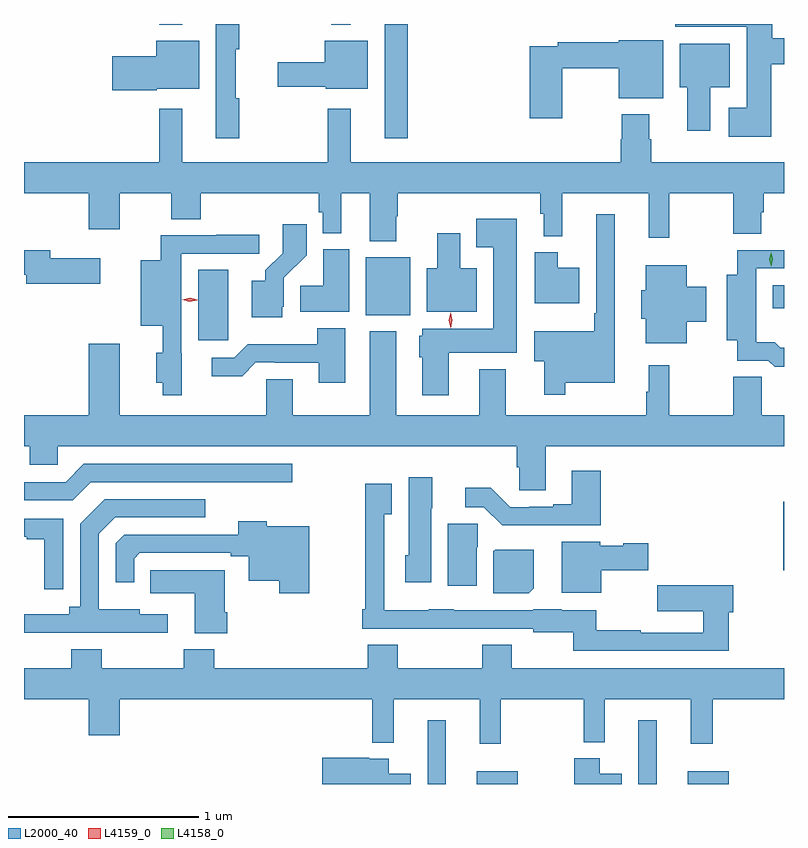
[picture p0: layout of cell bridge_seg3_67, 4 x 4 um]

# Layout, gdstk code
import gdstk
lib = gdstk.Library(unit=1e-6, precision=1e-09)
def R(c, l, rs):  # rectangles x0, y0, x1, y1
    for r in rs: c.add(gdstk.rectangle(r[:2], r[2:], *l))
def P(c, l, *ps):  # polygons
    for p in ps: c.add(gdstk.Polygon(p, *l))
L2000_40 = (2000, 40)
L4158_0 = (4158, 0)
L4159_0 = (4159, 0)

bridge_seg3_67 = lib.new_cell('bridge_seg3_67')
R(bridge_seg3_67, L2000_40, [(574.383,691.147,574.48,691.483), (574.643,691.147,574.858,691.213), (575.493,691.147,575.59,691.483), (575.753,691.147,575.968,691.213), (576.254,692.271,576.259,692.632), (573.176,693.483,573.334,693.854), (574.058,693.614,574.291,693.919), (576.199,693.65,576.259,693.772), (574.157,694.545,574.279,695.147), (572.97,695.144,573.091,695.147), (573.875,695.144,573.979,695.147)])
P(bridge_seg3_67, L2000_40, [(573.391,694.757),(573.373,694.757),(573.373,695.014),(573.391,695.014),(573.391,695.147),(573.269,695.147),(573.269,694.545),(573.391,694.545)],
  [(576.192,694.936),(576.259,694.936),(576.259,695.072),(576.197,695.072),(576.197,695.147),(575.687,695.147),(575.687,695.132),(576.062,695.132),(576.062,694.705),(575.967,694.705),(575.967,694.553),(576.192,694.553)],
  [(575.092,694.915),(575.39,694.915),(575.39,694.757),(575.623,694.757),(575.623,695.062),(575.39,695.062),(575.39,695.051),(575.068,695.051),(575.068,695.031),(574.922,695.031),(574.922,694.65),(575.092,694.65)],
  [(572.958,694.805),(573.181,694.805),(573.181,695.059),(572.954,695.059),(572.954,694.976),(572.724,694.976),(572.724,694.798),(572.958,694.798)],
  [(574.069,695.059),(573.842,695.059),(573.842,694.945),(573.594,694.945),(573.594,694.816),(573.846,694.816),(573.846,694.805),(574.069,694.805)],
  [(575.872,694.814),(575.974,694.814),(575.974,695.044),(575.711,695.044),(575.711,694.814),(575.75,694.814),(575.75,694.584),(575.872,694.584)],
  [(574.219,694.136),(574.227,694.136),(574.227,694.256),(574.975,694.256),(574.975,694.149),(574.994,694.149),(574.994,694.031),(575.093,694.031),(575.093,694.256),(575.546,694.256),(575.546,694.023),(575.656,694.023),(575.656,694.256),(575.992,694.256),(575.992,694.042),(576.139,694.042),(576.139,694.155),(576.152,694.155),(576.152,694.256),(576.259,694.256),(576.259,694.42),(575.559,694.42),(575.559,694.541),(575.551,694.541),(575.551,694.672),(575.404,694.672),(575.404,694.541),(575.399,694.541),(575.399,694.42),(573.979,694.42),(573.979,694.702),(573.858,694.702),(573.858,694.42),(573.091,694.42),(573.091,694.702),(572.97,694.702),(572.97,694.42),(572.259,694.42),(572.259,694.256),(572.6,694.256),(572.6,694.068),(572.764,694.068),(572.764,694.256),(573.035,694.256),(573.035,694.12),(573.188,694.12),(573.188,694.256),(573.811,694.256),(573.811,694.155),(573.831,694.155),(573.831,694.046),(573.928,694.046),(573.928,694.256),(574.079,694.256),(574.079,694.004),(574.219,694.004)],
  [(575.107,693.26),(575.368,693.26),(575.368,694.147),(575.271,694.147),(575.271,693.625),(575.259,693.625),(575.259,693.529),(574.944,693.529),(574.944,693.371),(574.997,693.371),(574.997,693.195),(575.107,693.195)],
  [(574.495,693.416),(574.852,693.416),(574.852,694.123),(574.64,694.123),(574.64,693.971),(574.73,693.971),(574.73,693.544),(574.355,693.544),(574.355,693.507),(574.34,693.507),(574.34,693.393),(574.355,693.393),(574.355,693.192),(574.495,693.192)],
  [(573.619,693.66),(573.627,693.66),(573.627,693.811),(573.746,693.93),(573.746,694.093),(573.621,694.093),(573.621,693.941),(573.53,693.851),(573.53,693.796),(573.458,693.796),(573.458,693.603),(573.619,693.603)],
  [(574.642,693.862),(574.555,693.862),(574.555,694.045),(574.433,694.045),(574.433,693.862),(574.379,693.862),(574.379,693.632),(574.642,693.632)],
  [(573.088,693.414),(573.087,693.414),(573.087,693.939),(573.496,693.939),(573.496,694.038),(573.271,694.038),(573.271,694.035),(572.979,694.035),(572.979,693.904),(572.873,693.904),(572.873,693.56),(572.989,693.56),(572.989,693.418),(572.954,693.418),(572.954,693.26),(572.989,693.26),(572.989,693.192),(573.088,693.192)],
  [(573.97,693.961),(573.833,693.961),(573.833,693.77),(573.712,693.77),(573.712,693.632),(573.97,693.632)],
  [(576.259,693.444),(576.238,693.444),(576.21,693.472),(576.114,693.472),(576.114,693.861),(576.259,693.861),(576.259,693.957),(576.013,693.957),(576.013,693.826),(575.957,693.826),(575.957,693.482),(576.013,693.482),(576.013,693.375),(576.177,693.375),(576.209,693.344),(576.259,693.344)],
  [(572.659,693.913),(572.398,693.913),(572.398,693.955),(572.259,693.955),(572.259,693.826),(572.27,693.826),(572.27,693.779),(572.659,693.779)],
  [(575.182,693.865),(575.068,693.865),(575.068,693.946),(574.946,693.946),(574.946,693.677),(575.182,693.677)],
  [(575.746,693.581),(575.851,693.581),(575.851,693.764),(575.746,693.764),(575.746,693.877),(575.531,693.877),(575.531,693.747),(575.507,693.747),(575.507,693.597),(575.531,693.597),(575.531,693.467),(575.746,693.467)],
  [(573.949,693.547),(573.802,693.547),(573.802,693.461),(573.437,693.461),(573.366,693.39),(573.246,693.39),(573.246,693.293),(573.407,693.293),(573.48,693.366),(573.58,693.366),(573.58,693.363),(573.809,693.363),(573.809,693.258),(573.949,693.258)],
  [(575.005,692.924),(576.259,692.924),(576.259,693.088),(576.142,693.088),(576.142,693.29),(575.992,693.29),(575.992,693.088),(575.656,693.088),(575.656,693.352),(575.546,693.352),(575.546,693.212),(575.535,693.212),(575.535,693.088),(574.795,693.088),(574.795,693.331),(574.655,693.331),(574.655,693.088),(574.219,693.088),(574.219,693.529),(574.079,693.529),(574.079,693.088),(573.673,693.088),(573.673,693.278),(573.534,693.278),(573.534,693.088),(572.764,693.088),(572.764,693.463),(572.6,693.463),(572.6,693.088),(572.259,693.088),(572.259,692.924),(572.29,692.924),(572.29,692.826),(572.436,692.826),(572.436,692.924),(574.853,692.924),(574.853,692.814),(574.866,692.814),(574.866,692.692),(575.005,692.692)],
  [(572.611,692.736),(573.301,692.736),(573.301,692.735),(573.67,692.735),(573.67,692.832),(572.574,692.832),(572.478,692.736),(572.259,692.736),(572.259,692.64),(572.515,692.64)],
  [(575.294,692.797),(575.141,692.797),(575.141,692.62),(575.045,692.62),(575.045,692.607),(574.918,692.607),(574.918,692.604),(574.818,692.604),(574.716,692.707),(574.581,692.707),(574.581,692.604),(574.68,692.604),(574.775,692.51),(575.294,692.51)],
  [(574.402,692.598),(574.408,692.598),(574.408,692.761),(574.283,692.761),(574.283,692.352),(574.265,692.352),(574.265,692.208),(574.402,692.208)],
  [(575.969,692.05),(575.993,692.05),(575.993,692.192),(575.592,692.192),(575.592,692.057),(575.833,692.057),(575.833,691.944),(575.504,691.944),(575.504,691.957),(575.272,691.957),(575.272,692.062),(575.088,692.062),(575.088,692.068),(574.938,692.068),(574.938,692.061),(574.521,692.061),(574.521,692.068),(574.389,692.068),(574.389,692.062),(574.155,692.062),(574.155,692.567),(574.195,692.567),(574.195,692.728),(574.054,692.728),(574.054,692.068),(574.039,692.068),(574.039,691.965),(574.289,691.965),(574.289,691.964),(574.521,691.964),(574.521,691.965),(574.938,691.965),(574.938,691.946),(575.151,691.946),(575.151,691.848),(575.969,691.848)],
  [(573.016,692.04),(572.868,692.04),(572.868,692.068),(572.652,692.068),(572.652,692.463),(572.739,692.55),(573.214,692.55),(573.214,692.646),(572.684,692.646),(572.556,692.518),(572.556,692.081),(572.496,692.081),(572.496,692.041),(572.259,692.041),(572.259,691.943),(573.016,691.943)],
  [(572.466,692.544),(572.259,692.544),(572.259,692.448),(572.273,692.448),(572.273,692.436),(572.365,692.436),(572.365,692.172),(572.466,692.172)],
  [(573.76,692.503),(573.537,692.503),(573.537,692.53),(573.386,692.53),(573.386,692.46),(572.787,692.46),(572.742,692.415),(572.742,692.208),(572.838,692.208),(572.838,692.333),(572.869,692.364),(573.347,692.364),(573.347,692.346),(573.443,692.346),(573.443,692.216),(573.602,692.216),(573.602,692.151),(573.76,692.151)],
  [(574.642,692.394),(574.646,692.394),(574.646,692.517),(574.49,692.517),(574.49,692.19),(574.642,692.19)],
  [(575.296,692.272),(575.545,692.272),(575.545,692.414),(575.412,692.414),(575.412,692.401),(575.292,692.401),(575.292,692.422),(575.09,692.422),(575.09,692.153),(575.296,692.153)],
  [(574.942,692.176),(574.942,692.38),(574.738,692.38),(574.73,692.372),(574.73,692.15),(574.916,692.15)],
  [(573.329,692.05),(573.316,692.05),(573.316,692.272),(572.923,692.272),(572.923,692.15),(573.158,692.15),(573.158,691.94),(573.329,691.94)],
  [(574.768,691.592),(575.205,691.592),(575.205,691.367),(575.315,691.367),(575.315,691.592),(575.768,691.592),(575.768,691.359),(575.885,691.359),(575.885,691.592),(576.259,691.592),(576.259,691.756),(574.827,691.756),(574.827,691.88),(574.672,691.88),(574.672,691.756),(574.227,691.756),(574.227,691.88),(574.067,691.88),(574.067,691.756),(573.26,691.756),(573.26,691.855),(573.1,691.855),(573.1,691.756),(572.667,691.756),(572.667,691.855),(572.507,691.855),(572.507,691.756),(572.259,691.756),(572.259,691.592),(572.6,691.592),(572.6,691.404),(572.764,691.404),(572.764,691.592),(574.091,691.592),(574.091,691.364),(574.205,691.364),(574.205,691.592),(574.658,691.592),(574.658,691.359),(574.768,691.359)],
  [(574.294,691.201),(574.18,691.201),(574.18,691.279),(574.076,691.279),(574.076,691.284),(573.828,691.284),(573.828,691.147),(574.294,691.147)],
  [(575.404,691.201),(575.29,691.201),(575.29,691.282),(575.156,691.282),(575.156,691.147),(575.404,691.147)])
P(bridge_seg3_67, L4158_0, [(576.191,693.872),(576.191,693.872),(576.181,693.908),(576.191,693.944),(576.191,693.945),(576.191,693.944),(576.201,693.908),(576.191,693.872)])
P(bridge_seg3_67, L4159_0, [(574.505,693.546),(574.504,693.547),(574.494,693.587),(574.504,693.627),(574.504,693.627),(574.504,693.627),(574.514,693.587),(574.505,693.547)],
  [(573.132,693.685),(573.093,693.696),(573.093,693.696),(573.093,693.696),(573.133,693.705),(573.172,693.695),(573.172,693.694),(573.172,693.694)])

lib.write_gds('bridge_seg3_67.gds')
